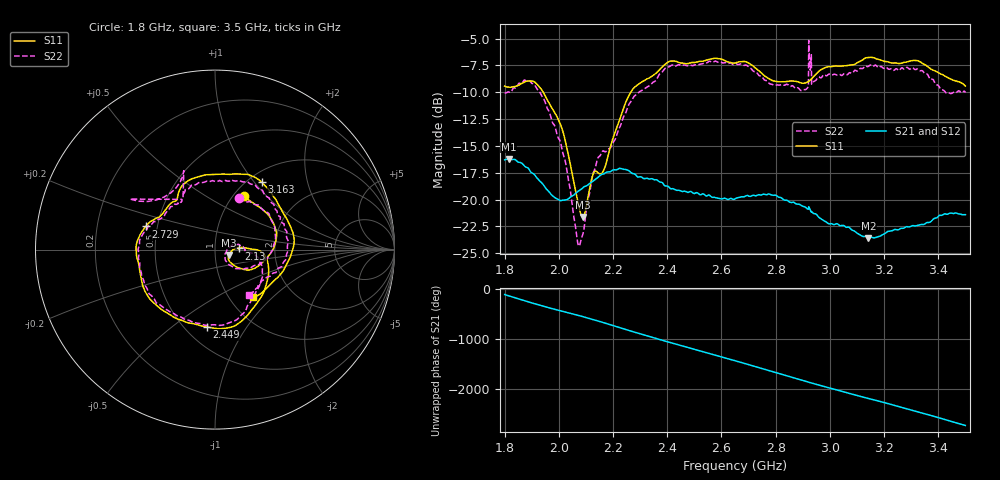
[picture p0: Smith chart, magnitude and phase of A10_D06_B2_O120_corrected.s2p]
! Created with skrf 1.9.0 (http://scikit-rf.org).
# Hz S RI R 50.0
!freq ReS11 ImS11 ReS21 ImS21 ReS12 ImS12 ReS22 ImS22
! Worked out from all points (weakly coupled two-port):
!   1601 points, 1.8 GHz to 3.5 GHz, reference 50 ohm
!   highest |S21| = -16.22 dB at 1.815 GHz (marker M1); lowest = -23.6 dB at 3.142 GHz (marker M2)
!   lowest |S11| = -21.6 dB at 2.089 GHz (marker M3), VSWR 1.18, Z = 58.3 - j3.52 ohm
!   |S11| at or under -10 dB: 1.943 GHz to 2.265 GHz (322.8 MHz wide, 15.3 % of centre)
!   |S22| runs from -24.3 to -5.2 dB; largest |S21 - S12| = 0.0025
!   S11 on the Smith chart (normalised r, x): 1.8 GHz: 1.12, +0.75; 2.13 GHz: 1.31, +0.02; 2.449 GHz: 0.63, -0.67; 2.729 GHz: 0.43, +0.13; 3.163 GHz: 1.15, +1.09; 3.5 GHz: 1.28, -0.76
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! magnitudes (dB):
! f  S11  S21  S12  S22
! 1.8 GHz  -9.4  -16.3  -16.3  -10.0
! 1.815 GHz  -9.5  -16.2  -16.2  -10.0
! 1.881 GHz  -9.0  -17.0  -17.0  -9.0
! 1.942 GHz  -10.0  -18.6  -18.6  -10.6
! 2.013 GHz  -13.5  -20.1  -20.1  -15.4
! 2.068 GHz  -19.9  -19.3  -19.3  -23.7
! 2.084 GHz  -21.5  -19.0  -19.0  -23.6
! 2.089 GHz  -21.6  -18.9  -18.9  -23.2
! 2.13 GHz  -17.4  -18.2  -18.2  -17.3
! 2.167 GHz  -17.2  -17.6  -17.6  -15.5
! 2.268 GHz  -9.9  -17.5  -17.5  -10.8
! 2.367 GHz  -8.0  -18.3  -18.2  -8.5
! 2.449 GHz  -7.3  -19.2  -19.2  -7.5
! 2.65 GHz  -7.3  -19.9  -19.9  -7.4
! 2.729 GHz  -7.8  -19.6  -19.7  -8.1
! 2.898 GHz  -9.2  -20.6  -20.6  -9.8
! 2.934 GHz  -8.7  -21.1  -21.1  -9.2
! 3.142 GHz  -6.8  -23.6  -23.5  -7.6
! 3.163 GHz  -6.8  -23.6  -23.5  -7.5
! 3.217 GHz  -7.2  -22.9  -22.9  -7.9
! 3.324 GHz  -7.1  -22.4  -22.4  -7.8
! 3.5 GHz  -9.4  -21.4  -21.4  -10.0
